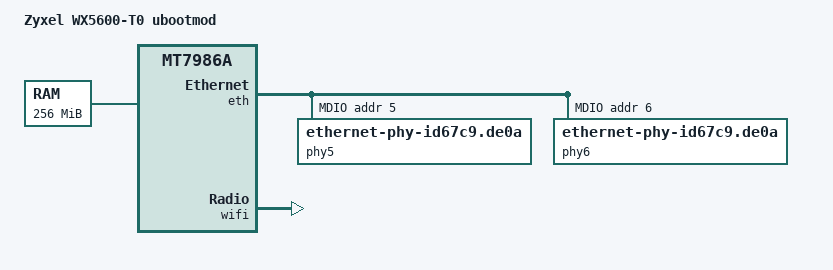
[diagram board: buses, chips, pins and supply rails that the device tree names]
// SPDX-License-Identifier: (GPL-2.0 OR MIT)
/*
 * Copyright (C) 2021 MediaTek Inc.
 * Author: Sam.Shih <sam.shih@mediatek.com>
 */

/dts-v1/;
#include "mt7986a.dtsi"
#include "mt7986a-zyxel-ex5601-t0-common.dtsi"
#include <dt-bindings/gpio/gpio.h>
#include <dt-bindings/input/input.h>

/ {
	model = "Zyxel WX5600-T0 ubootmod";
	compatible = "zyxel,wx5600-t0-ubootmod", "mediatek,mt7986a";

	memory@40000000 {
		device_type = "memory";
		reg = <0x40000000 0x10000000>;
	};

	chosen {
		bootargs-append = " root=/dev/fit0 rootwait";
		rootdisk = <&ubi_rootdisk>;
	};
};

&nand_partitions {
	partition@0 {
		label = "bl2";
		reg = <0x0 0x100000>;
		read-only;
	};

	partition@100000 {
		label = "u-boot-env";
		reg = <0x0100000 0x0080000>;
		read-only;
	};

	factory: partition@180000 {
		label = "Factory";
		reg = <0x180000 0x0200000>;
		read-only;

		nvmem-layout {
			compatible = "fixed-layout";
			#address-cells = <1>; 
			#size-cells = <1>;

			eeprom_factory: eeprom@0 {
				#size-cells = <1>;
				reg = <0x0 0x1000>;
			};

			macaddr_factory_0004: macaddr@0004 {
				compatible = "mac-base";
				reg = <0x0004 0x6>;
				#nvmem-cell-cells = <1>;
			};

			macaddr_factory_0024: macaddr@0024 {
				compatible = "mac-base";
				reg = <0x0024 0x6>;
				#nvmem-cell-cells = <1>;
			};

			macaddr_factory_002a: macaddr@002a {
				compatible = "mac-base";
				reg = <0x002a 0x6>;
				#nvmem-cell-cells = <1>;
			};
		};
	};

	partition@380000 {
		label = "fip";
		reg = <0x380000 0x0200000>;
		read-only;
	};

	partition@540000 {
		label = "zloader";
		reg = <0x540000 0x0040000>;
		read-only;
	};

	partition@580000 {
		label = "ubi";
		reg = <0x580000 0x1da80000>;
		compatible = "linux,ubi";

		volumes {
			ubi_rootdisk: ubi-volume-fit {
				volname = "fit";
			};
		};
	};
};

&eth {
	pinctrl-names = "default";
	pinctrl-0 = <&eth_pins>;
	status = "okay";

	gmac0: mac@0 {
		compatible = "mediatek,eth-mac";
		reg = <0>;
		phy-mode = "2500base-x";
		
		fixed-link {
			speed = <2500>;
			full-duplex;
			pause;
		};
	};

	gmac1: mac@1 {
		compatible = "mediatek,eth-mac";
		reg = <1>;
		phy-mode = "2500base-x";
		phy = <&phy6>;
		fixed-link {
			speed = <2500>;
			full-duplex;
			pause;
		};
	};

	mdio: mdio-bus {
		#address-cells = <1>;
		#size-cells = <0>;
		reset-gpios = <&pio 6 GPIO_ACTIVE_LOW>;
		reset-delay-us = <1500000>;
		reset-post-delay-us = <1000000>;

		phy5: phy@5 {
			compatible = "ethernet-phy-id67c9.de0a";
			reg = <5>;
			mxl,led-config = <0x03f0 0x0 0x0 0x0>;
		};

		phy6: phy@6 {
			compatible = "ethernet-phy-id67c9.de0a";
			reg = <6>;
			mxl,led-config = <0x00f0 0x0 0x0 0x0>;
		};

	};
};

&mdio {
	#address-cells = <1>;
	#size-cells = <0>;
	
};
&gmac0 {
	nvmem-cells = <&macaddr_factory_002a 0>;
	nvmem-cell-names = "mac-address";
};

&gmac1 {
	nvmem-cells = <&macaddr_factory_0024 0>;
	nvmem-cell-names = "mac-address";
};

&wifi {
	nvmem-cells = <&eeprom_factory>;
	nvmem-cell-names = "eeprom";
};
